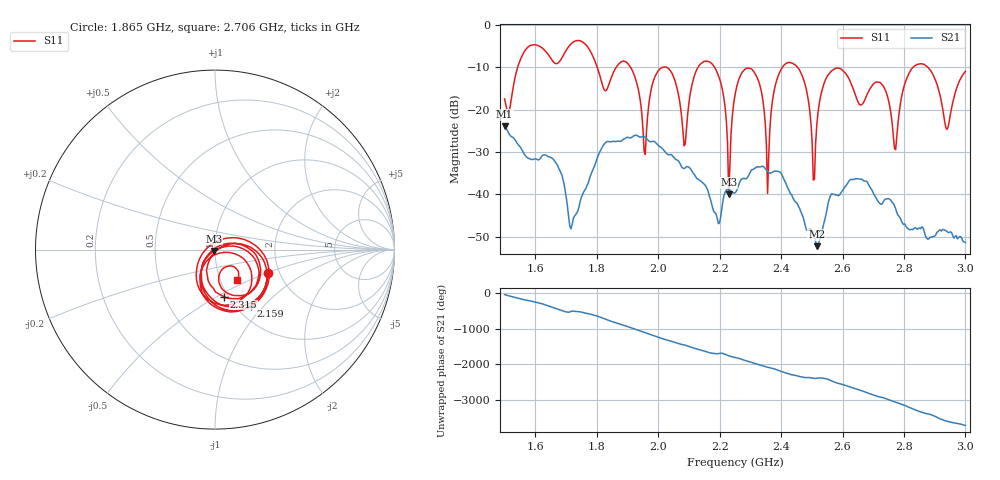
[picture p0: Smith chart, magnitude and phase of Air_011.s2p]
# HZ S RI R 50
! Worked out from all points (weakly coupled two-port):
!   404 points, 1.5 GHz to 3 GHz, reference 50 ohm
!   highest |S21| = -23.95 dB at 1.5 GHz (marker M1); lowest = -52.3 dB at 2.516 GHz (marker M2)
!   lowest |S11| = -40.0 dB at 2.23 GHz (marker M3), VSWR 1.02, Z = 49.3 - j0.735 ohm
!   |S11| at or under -10 dB: 2.183 GHz to 2.404 GHz (221 MHz wide, 9.64 % of centre); 2.454 GHz to 2.83 GHz (376.2 MHz wide, 14.2 % of centre); 2.877 GHz to end of sweep (the widest 3 of 7)
!   S12 and S22 are empty: the file has one direction only
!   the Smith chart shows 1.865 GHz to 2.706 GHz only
!   S11 on the Smith chart (normalised r, x): 1.865 GHz: 1.75, -0.50; 2.159 GHz: 1.17, -0.85; 2.315 GHz: 0.95, -0.54; 2.706 GHz: 1.20, -0.42
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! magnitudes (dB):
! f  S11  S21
! 1.5 GHz  -17.5  -24.0
! 1.753 GHz  -4.0  -40.2
! 1.865 GHz  -9.8  -27.5
! 1.958 GHz  -30.6  -26.5
! 2.002 GHz  -10.6  -28.7
! 2.084 GHz  -28.5  -33.9
! 2.159 GHz  -8.6  -38.6
! 2.23 GHz  -40.0  -38.7
! 2.252 GHz  -15.9  -39.6
! 2.315 GHz  -11.5  -33.8
! 2.356 GHz  -39.8  -34.6
! 2.39 GHz  -12.3  -34.6
! 2.453 GHz  -9.9  -42.3
! 2.501 GHz  -27.9  -48.8
! 2.516 GHz  -23.7  -52.3
! 2.565 GHz  -10.9  -39.9
! 2.706 GHz  -13.6  -40.5
! 2.751 GHz  -18.1  -41.1
! 2.773 GHz  -29.5  -43.4
! 2.862 GHz  -9.2  -48.0
! 2.94 GHz  -24.7  -48.8
! 3 GHz  -11.0  -51.4
